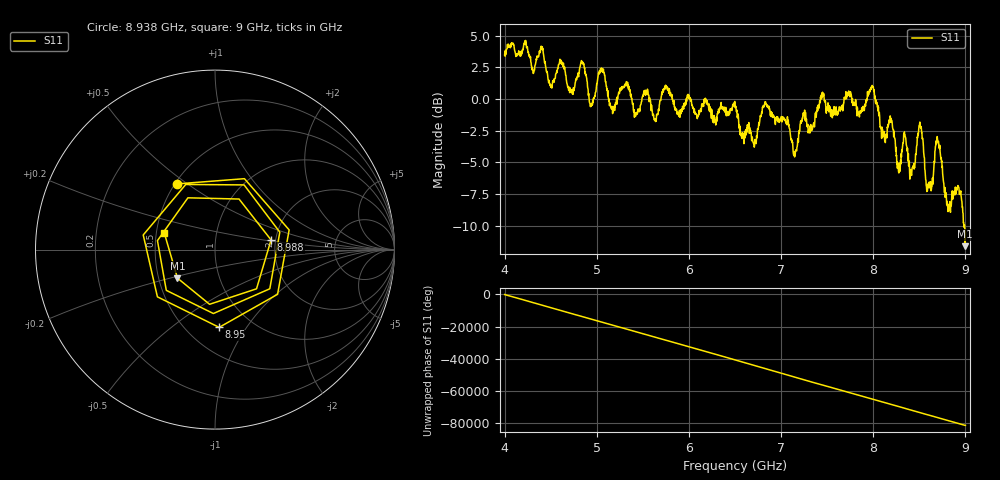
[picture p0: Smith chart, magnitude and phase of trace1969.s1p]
! Created with skrf 1.8.0 (http://scikit-rf.org).
# Hz S RI R 50.0
!freq ReS11 ImS11
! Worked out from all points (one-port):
!   1601 points, 4 GHz to 9 GHz, reference 50 ohm
!   lowest |S11| = -11.6 dB at 8.997 GHz (marker M1), VSWR 1.71, Z = 31.3 - j10.7 ohm
!   |S11| at or under -10 dB: 8.983058 GHz to 8.987429 GHz (4.371 MHz wide, 0.0486 % of centre); 8.991483 GHz to end of sweep
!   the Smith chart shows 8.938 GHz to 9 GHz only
!   S11 on the Smith chart (normalised r, x): 8.938 GHz: 0.51, +0.46; 8.95 GHz: 0.71, -0.76; 8.988 GHz: 1.89, +0.23; 9 GHz: 0.55, +0.11
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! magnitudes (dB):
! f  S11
! 4 GHz  3.5
! 4.625 GHz  2.8
! 4.728 GHz  0.6
! 4.844 GHz  2.8
! 4.941 GHz  -0.4
! 5.047 GHz  2.3
! 5.162 GHz  -0.8
! 5.25 GHz  0.8
! 5.875 GHz  -1.2
! 6.5 GHz  -0.7
! 6.706 GHz  -3.5
! 6.844 GHz  -0.5
! 7.125 GHz  -3.4
! 7.441 GHz  0.0
! 7.75 GHz  0.2
! 7.988 GHz  1.1
! 8.275 GHz  -5.8
! 8.375 GHz  -4.4
! 8.422 GHz  -5.4
! 8.509 GHz  -2.1
! 8.594 GHz  -6.8
! 8.697 GHz  -3.2
! 8.812 GHz  -8.9
! 8.938 GHz  -7.5
! 8.95 GHz  -7.3
! 8.988 GHz  -10.0
! 8.997 GHz  -11.6
! 9 GHz  -10.5
